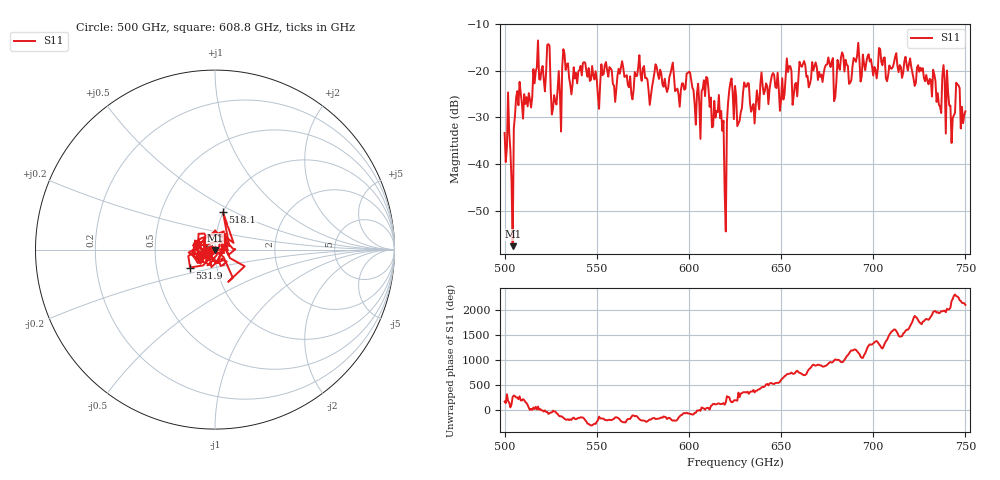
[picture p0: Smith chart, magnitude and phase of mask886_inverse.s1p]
!Created with skrf (http://scikit-rf.org).
# GHz S MA R 50.0
!freq magS11 angS11
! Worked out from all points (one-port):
!   401 points, 500 GHz to 750 GHz, reference 50 ohm
!   lowest |S11| = -57.6 dB at 504.4 GHz (marker M1), VSWR 1.00, Z = 50 - j0.131 ohm
!   |S11| at or under -10 dB: start of sweep to end of sweep
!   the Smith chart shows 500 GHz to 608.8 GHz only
!   S11 on the Smith chart (normalised r, x): 500 GHz: 0.96, +0.00; 518.1 GHz: 1.00, +0.43; 531.9 GHz: 0.74, -0.15; 608.8 GHz: 1.11, +0.04
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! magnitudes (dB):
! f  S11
! 500 GHz  -33.3
! 504.4 GHz  -57.6
! 507.5 GHz  -27.4
! 513.8 GHz  -26.1
! 518.1 GHz  -13.5
! 523.8 GHz  -14.2
! 526.9 GHz  -25.2
! 531.2 GHz  -19.2
! 531.9 GHz  -15.3
! 562.5 GHz  -20.6
! 578.8 GHz  -27.3
! 590.6 GHz  -19.4
! 593.8 GHz  -23.8
! 600 GHz  -20.2
! 605 GHz  -22.8
! 608.8 GHz  -25.4
! 617.5 GHz  -28.6
! 619.4 GHz  -45.6
! 620.6 GHz  -30.8
! 621.9 GHz  -24.1
! 625 GHz  -23.2
! 654.4 GHz  -19.0
! 656.2 GHz  -27.3
! 661.2 GHz  -19.1
! 687.5 GHz  -22.6
! 690.6 GHz  -18.1
! 718.8 GHz  -19.9
! 750 GHz  -28.7
